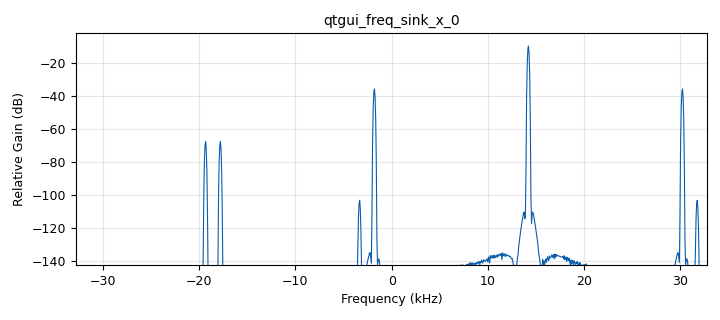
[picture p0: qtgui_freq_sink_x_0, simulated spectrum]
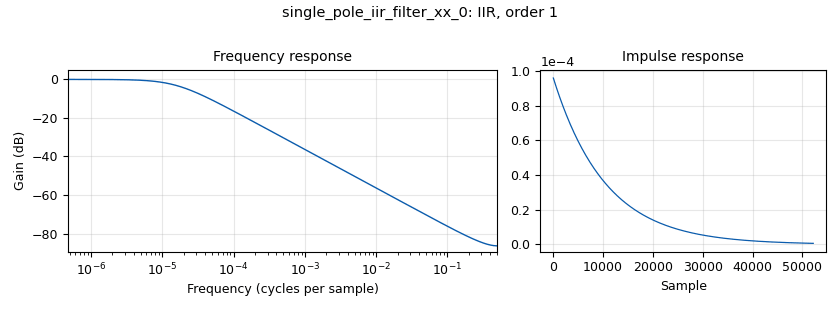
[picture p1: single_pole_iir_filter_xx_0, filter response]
options:
  parameters:
    author: cbro
    generate_options: qt_gui
    id: pll_test
    output_language: python
    title: Not titled yet
  states: {}

blocks:
- name: Bn
  id: variable
  parameters:
    value: '400'
  states: {}
- name: carrierfreq
  id: variable_qtgui_range
  parameters:
    orient: Qt.Horizontal
    start: '10000'
    step: '100'
    stop: '20000'
    value: '10000'
  states: {}
- name: frequency
  id: variable_qtgui_range
  parameters:
    label: Center frequency (Hz)
    orient: Qt.Horizontal
    start: '-20e3'
    step: '100'
    stop: 20e3
    value: '13000'
  states: {}
- name: modulation_coeff
  id: variable_qtgui_range
  parameters:
    label: Modulation Coefficent
    orient: Qt.Horizontal
    start: '0'
    step: '0.1'
    stop: '1'
    value: '0'
    widget: counter
  states: {}
- name: samp_rate
  id: variable
  parameters:
    value: 4096*16
  states: {}
- name: snr
  id: variable_qtgui_range
  parameters:
    label: SNR (dB)
    orient: Qt.Horizontal
    start: '-20'
    step: '1'
    stop: '50'
    value: '20'
  states: {}
- name: subcarrier
  id: variable_qtgui_range
  parameters:
    label: Subcarrier Frequency (Hz)
    orient: Qt.Horizontal
    start: '1000'
    step: '1000'
    stop: '20000'
    value: '16000'
    widget: counter
  states: {}
- name: sweep_range
  id: variable_qtgui_range
  parameters:
    label: Sweep Range (Hz)
    orient: Qt.Horizontal
    start: '0'
    step: 1e3
    stop: 50e3
    value: '3000'
  states: {}
- name: sweep_rate
  id: variable_qtgui_range
  parameters:
    label: Sweep rate (Hz/s)
    orient: Qt.Horizontal
    start: '0'
    step: '100'
    stop: 50e3
    value: '200'
  states: {}
- name: variable_constellation_0
  id: variable_constellation
  parameters:
    const_points: '[-1-1j, -1+1j, 1+1j, 1-1j]'
    dims: '1'
    precision: '8'
    rot_sym: '4'
    sym_map: '[0, 1, 3, 2]'
    type: calcdist
  states: {}
- name: variables_loop_filter_2ndorder_0
  id: variables_loop_filter_2ndorder
  parameters:
    damping: '0.707'
    natural_freq: '800'
    samp_rate: samp_rate
  states: {}
- name: analog_noise_source_x_0
  id: analog_noise_source_x
  parameters:
    amp: 10**(-snr/10)*0
    noise_type: analog.GR_GAUSSIAN
    seed: '0'
    type: complex
  states: {}
- name: analog_phase_modulator_fc_0
  id: analog_phase_modulator_fc
  parameters:
    sensitivity: '1'
  states: {}
- name: analog_sig_source_x_2_0
  id: analog_sig_source_x
  parameters:
    amp: modulation_coeff+0.1
    freq: subcarrier
    offset: '0'
    phase: '0'
    samp_rate: samp_rate
    type: float
    waveform: analog.GR_SIN_WAVE
  states: {}
- name: analog_sig_source_x_2_1
  id: analog_sig_source_x
  parameters:
    amp: 2*3.14159265359*sweep_range
    freq: 0 if sweep_range == 0 else sweep_rate/sweep_range
    offset: 2*3.14159265359*frequency
    phase: '-3.14159265359'
    samp_rate: samp_rate
    type: float
    waveform: analog.GR_TRI_WAVE
  states: {}
- name: blocks_add_xx_1
  id: blocks_add_xx
  parameters:
    type: complex
  states: {}
- name: blocks_complex_to_float_2
  id: blocks_complex_to_float
  parameters: {}
  states: {}
- name: blocks_message_debug_0
  id: blocks_message_debug
  parameters: {}
  states: {}
- name: blocks_multiply_xx_0
  id: blocks_multiply_xx
  parameters:
    type: complex
  states: {}
- name: blocks_throttle_0_0
  id: blocks_throttle
  parameters:
    samples_per_second: samp_rate
    type: float
  states: {}
- name: blocks_vco_c_0
  id: blocks_vco_c
  parameters:
    amplitude: '1'
    samp_rate: samp_rate
    sensitivity: '1'
  states: {}
- name: ecss_pll_0
  id: ecss_pll
  parameters:
    N: '38'
    bw: '9000'
    coefficients: variables_loop_filter_2ndorder_0
    freq_central: '15000'
    samp_rate: samp_rate
  states: {}
- name: ecss_signal_search_goertzel_0
  id: ecss_signal_search_goertzel
  parameters:
    average: 'True'
    bandwidth: '1000'
    enable: 'True'
    freq_central: '15000'
    freq_cutoff: '100'
    samp_rate: samp_rate
    threshold: '10'
  states: {}
- name: ecss_threshhold_to_message_0
  id: ecss_threshhold_to_message
  parameters:
    init_state: 'False'
    lower_message: pmt.intern("UNLOCK")
    lower_threshhold: '0.5'
    upper_message: pmt.intern("LOCK")
    upper_threshhold: '0.8'
  states: {}
- name: qtgui_freq_sink_x_0
  id: qtgui_freq_sink_x
  parameters:
    autoscale: 'True'
    average: '0.2'
    bw: samp_rate
    fc: '0'
    fftsize: '1024'
    grid: 'True'
    type: complex
    wintype: firdes.WIN_BLACKMAN_hARRIS
  states: {}
- name: qtgui_time_sink_x_0_0_0_0_0
  id: qtgui_time_sink_x
  parameters:
    name: '"PLL_FREQ"'
    size: '1024'
    srate: samp_rate
    type: float
    ymax: '20000'
    ymin: '10000'
  states: {}
- name: qtgui_time_sink_x_0_0_0_0_0_0
  id: qtgui_time_sink_x
  parameters:
    autoscale: 'True'
    name: '"I"'
    size: '1024'
    srate: samp_rate
    type: float
    ymax: '20000'
    ymin: '10000'
  states: {}
- name: single_pole_iir_filter_xx_0
  id: single_pole_iir_filter_xx
  parameters:
    alpha: 2*3.14/samp_rate
    type: float
  states: {}

connections:
- [analog_noise_source_x_0, '0', blocks_add_xx_1, '1']
- [analog_phase_modulator_fc_0, '0', blocks_multiply_xx_0, '0']
- [analog_sig_source_x_2_0, '0', blocks_throttle_0_0, '0']
- [analog_sig_source_x_2_1, '0', blocks_vco_c_0, '0']
- [blocks_add_xx_1, '0', ecss_signal_search_goertzel_0, '0']
- [blocks_add_xx_1, '0', qtgui_freq_sink_x_0, '0']
- [blocks_complex_to_float_2, '0', qtgui_time_sink_x_0_0_0_0_0_0, '0']
- [blocks_complex_to_float_2, '0', single_pole_iir_filter_xx_0, '0']
- [blocks_multiply_xx_0, '0', blocks_add_xx_1, '0']
- [blocks_throttle_0_0, '0', analog_phase_modulator_fc_0, '0']
- [blocks_vco_c_0, '0', blocks_multiply_xx_0, '1']
- [ecss_pll_0, '0', blocks_complex_to_float_2, '0']
- [ecss_pll_0, '1', qtgui_time_sink_x_0_0_0_0_0, '0']
- [ecss_signal_search_goertzel_0, '0', ecss_pll_0, '0']
- [ecss_threshhold_to_message_0, threshhold_msg, blocks_message_debug_0, print]
- [ecss_threshhold_to_message_0, threshhold_msg, ecss_signal_search_goertzel_0, lock_in]
- [single_pole_iir_filter_xx_0, '0', ecss_threshhold_to_message_0, '0']

metadata:
  file_format: 1
